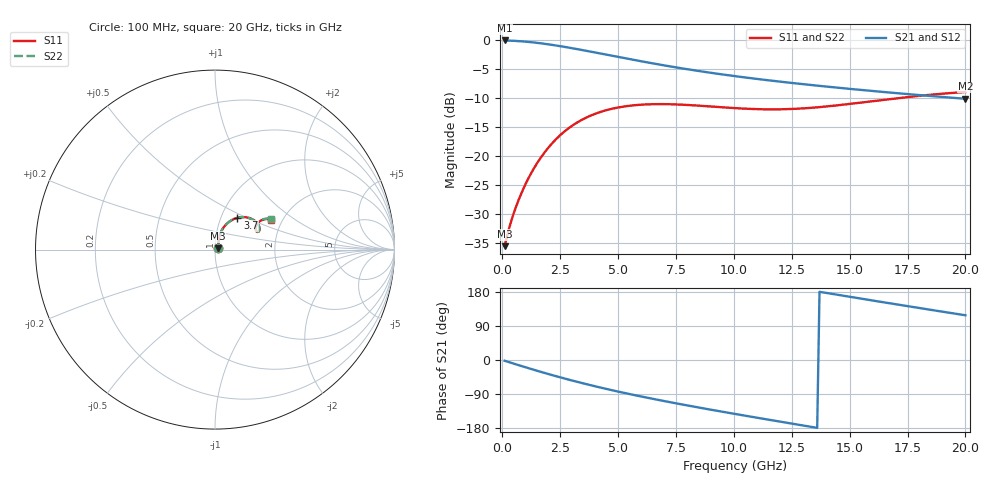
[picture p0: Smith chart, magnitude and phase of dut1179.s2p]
! Touchstone file exported from HFSS 2024.1.0
!  File:  C:/UserFiles/LocalFiles/RDL_TSV_Batchsim/temp_RDL_TSV_1179_1780125248.aedt
!  Generated:  03:31:21 PM May 30, 2026
!  Design:  RDL_TSV
!  Project:  temp_RDL_TSV_1179_1780125248
!  Setup:  Setup1
!  Solution:  Sweep
! Variables:
!  dtsv = 7.41um
!  hbump = 3um
!  htsv = 65.57um
!  ldown = 496.85um
!  lrdl = 571.11um
!  p = 40
!  p1 = 49.49um
!  rhole = 10um
!  subl = 3774.99um
!  t = 450um
!  tdown = 4.6um
!  trdl = 4.23um
!  viad = 10um
!  wdown = 23.06um
!  wrdl = 20.88um
!  xbump = 18um
# GHz S MA R 50.000000
! Terminal data exported
! Port[1] = TM1_1_T1
! Port[2] = TM1_4_T1
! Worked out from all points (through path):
!   200 points, 100 MHz to 20 GHz, reference 50 ohm
!   highest |S21| = -0.14 dB at 100 MHz (marker M1); lowest = -10.2 dB at 20 GHz (marker M2)
!   group delay of S21, straight-line fit = 31.9 ps
!   lowest |S11| = -35.6 dB at 100 MHz (marker M3), VSWR 1.03, Z = 51.6 + j0.634 ohm
!   |S11| at or under -10 dB: start of sweep to 17.24 GHz
!   |S22| runs from -35.6 to -9.0 dB; largest |S21 - S12| = 1.7e-14
!   S11 on the Smith chart (normalised r, x): 100 MHz: 1.03, +0.01; 3.7 GHz: 1.20, +0.44; 20 GHz: 1.75, +0.67
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0.1  0.01665 21.7  0.9843 -2.0  0.9843 -2.0  0.01665 21.7
! Gamma 0 0 0 0
! Port Impedance 50 0 50 0
0.4  0.028 50.6  0.9792 -7.8  0.9792 -7.8  0.028 50.6
0.7  0.04135 62.6  0.9718 -13.5  0.9718 -13.5  0.04135 62.5
1.1  0.06236 69.7  0.9577 -21.0  0.9577 -21.0  0.06234 69.7
1.5  0.0862 71.7  0.939 -28.3  0.939 -28.3  0.08615 71.6
1.9  0.1117 70.8  0.9169 -35.5  0.9169 -35.5  0.1116 70.7
2.4  0.144 67.5  0.8857 -44.1  0.8857 -44.1  0.1439 67.5
2.9  0.1747 63.0  0.8522 -52.3  0.8522 -52.3  0.1745 62.9
3.5  0.2071 56.9  0.8108 -61.8  0.8108 -61.8  0.2069 56.8
3.7  0.2166 54.8  0.7969 -64.8  0.7969 -64.8  0.2163 54.8
4.4  0.244 47.9  0.7493 -75.0  0.7493 -75.0  0.2436 47.8
5.2  0.2646 40.7  0.6981 -86.0  0.6981 -86.0  0.2641 40.6
6  0.2754 34.6  0.6514 -96.3  0.6514 -96.3  0.2747 34.6
6.8  0.2786 29.8  0.6096 -106.1  0.6096 -106.1  0.2778 29.7
8.4  0.2709 23.7  0.5402 -124.5  0.5402 -124.5  0.2699 23.8
10.1  0.2569 22.5  0.4835 -142.9  0.4835 -142.9  0.2558 22.6
11.7  0.251 25.1  0.4417 -159.6  0.4417 -159.6  0.2499 25.3
13.4  0.2593 29.1  0.4056 -177.0  0.4056 -177.0  0.2587 29.5
15.1  0.2811 31.8  0.3753 165.9  0.3753 165.9  0.2809 32.2
16.7  0.3073 32.2  0.3508 150.0  0.3508 150.0  0.3076 32.6
18.3  0.3327 30.8  0.3294 134.4  0.3294 134.4  0.3335 31.1
20  0.354 28.1  0.3098 118.0  0.3098 118.0  0.3552 28.4
